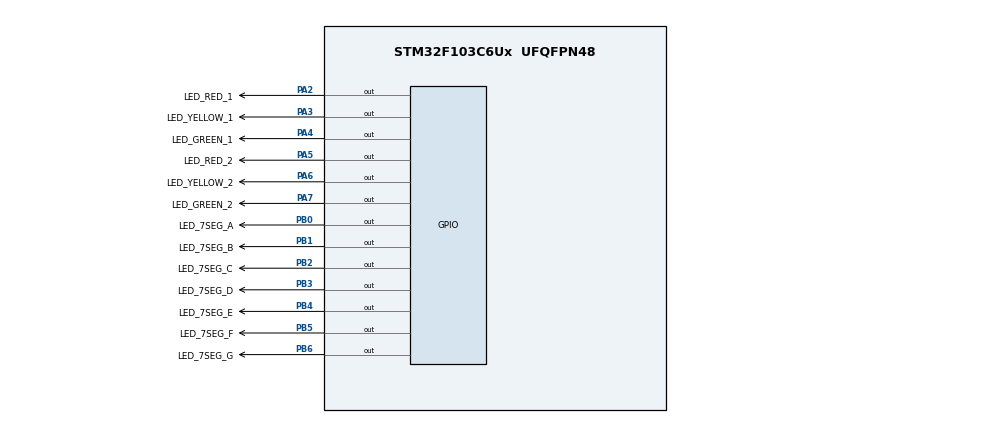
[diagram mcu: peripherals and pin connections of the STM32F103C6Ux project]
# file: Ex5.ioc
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Mcu.Family=STM32F1
Mcu.Name=STM32F103C6Ux
Mcu.Package=UFQFPN48
NVIC.PriorityGroup=NVIC_PRIORITYGROUP_4
PA2.GPIO_Label=LED_RED_1
PA2.Signal=GPIO_Output
PA3.GPIO_Label=LED_YELLOW_1
PA3.Signal=GPIO_Output
PA4.GPIO_Label=LED_GREEN_1
PA4.Signal=GPIO_Output
PA5.GPIO_Label=LED_RED_2
PA5.Signal=GPIO_Output
PA6.GPIO_Label=LED_YELLOW_2
PA6.Signal=GPIO_Output
PA7.GPIO_Label=LED_GREEN_2
PA7.Signal=GPIO_Output
PB0.GPIO_Label=LED_7SEG_A
PB0.Signal=GPIO_Output
PB1.GPIO_Label=LED_7SEG_B
PB1.Signal=GPIO_Output
PB2.GPIO_Label=LED_7SEG_C
PB2.Signal=GPIO_Output
PB3.GPIO_Label=LED_7SEG_D
PB3.Signal=GPIO_Output
PB4.GPIO_Label=LED_7SEG_E
PB4.Signal=GPIO_Output
PB5.GPIO_Label=LED_7SEG_F
PB5.Signal=GPIO_Output
PB6.GPIO_Label=LED_7SEG_G
PB6.Signal=GPIO_Output
ProjectManager.HeapSize=0x200
ProjectManager.StackSize=0x400
ProjectManager.TargetToolchain=STM32CubeIDE
RCC.APB1Freq_Value=8000000
RCC.APB2Freq_Value=8000000
VP_SYS_VS_ND.Mode=No_Debug
board=custom

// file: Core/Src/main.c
/* USER CODE BEGIN Header */
/**
  ******************************************************************************
  * @file           : main.c
  * @brief          : Main program body
  ******************************************************************************
  * @attention
  *
  * <h2><center>&copy; Copyright (c) 2022 STMicroelectronics.
  * All rights reserved.</center></h2>
  *
  * This software component is licensed by ST under BSD 3-Clause license,
  * the "License"; You may not use this file except in compliance with the
  * License. You may obtain a copy of the License at:
  *                        opensource.org/licenses/BSD-3-Clause
  *
  ******************************************************************************
  */
/* USER CODE END Header */
#include "main.h"

void SystemClock_Config(void);
static void MX_GPIO_Init(void);

/* USER CODE BEGIN 0 */
void display7SEG(int num){
	switch(num){
	case 0:
		HAL_GPIO_WritePin(LED_7SEG_A_GPIO_Port, LED_7SEG_A_Pin, 0);
		HAL_GPIO_WritePin(LED_7SEG_B_GPIO_Port, LED_7SEG_B_Pin, 0);
		HAL_GPIO_WritePin(LED_7SEG_C_GPIO_Port, LED_7SEG_C_Pin, 0);
		HAL_GPIO_WritePin(LED_7SEG_D_GPIO_Port, LED_7SEG_D_Pin, 0);
		HAL_GPIO_WritePin(LED_7SEG_E_GPIO_Port, LED_7SEG_E_Pin, 0);
		HAL_GPIO_WritePin(LED_7SEG_F_GPIO_Port, LED_7SEG_F_Pin, 0);
		HAL_GPIO_WritePin(LED_7SEG_G_GPIO_Port, LED_7SEG_G_Pin, 1);
		break;
	case 1:
		HAL_GPIO_WritePin(LED_7SEG_A_GPIO_Port, LED_7SEG_A_Pin, 1);
		HAL_GPIO_WritePin(LED_7SEG_B_GPIO_Port, LED_7SEG_B_Pin, 0);
		HAL_GPIO_WritePin(LED_7SEG_C_GPIO_Port, LED_7SEG_C_Pin, 0);
		HAL_GPIO_WritePin(LED_7SEG_D_GPIO_Port, LED_7SEG_D_Pin, 1);
		HAL_GPIO_WritePin(LED_7SEG_E_GPIO_Port, LED_7SEG_E_Pin, 1);
		HAL_GPIO_WritePin(LED_7SEG_F_GPIO_Port, LED_7SEG_F_Pin, 1);
		HAL_GPIO_WritePin(LED_7SEG_G_GPIO_Port, LED_7SEG_G_Pin, 1);
		break;
	case 2:
		HAL_GPIO_WritePin(LED_7SEG_A_GPIO_Port, LED_7SEG_A_Pin, 0);
		HAL_GPIO_WritePin(LED_7SEG_B_GPIO_Port, LED_7SEG_B_Pin, 0);
		HAL_GPIO_WritePin(LED_7SEG_C_GPIO_Port, LED_7SEG_C_Pin, 1);
		HAL_GPIO_WritePin(LED_7SEG_D_GPIO_Port, LED_7SEG_D_Pin, 0);
		HAL_GPIO_WritePin(LED_7SEG_E_GPIO_Port, LED_7SEG_E_Pin, 0);
		HAL_GPIO_WritePin(LED_7SEG_F_GPIO_Port, LED_7SEG_F_Pin, 1);
		HAL_GPIO_WritePin(LED_7SEG_G_GPIO_Port, LED_7SEG_G_Pin, 0);
		break;
	case 3:
		HAL_GPIO_WritePin(LED_7SEG_A_GPIO_Port, LED_7SEG_A_Pin, 0);
		HAL_GPIO_WritePin(LED_7SEG_B_GPIO_Port, LED_7SEG_B_Pin, 0);
		HAL_GPIO_WritePin(LED_7SEG_C_GPIO_Port, LED_7SEG_C_Pin, 0);
		HAL_GPIO_WritePin(LED_7SEG_D_GPIO_Port, LED_7SEG_D_Pin, 0);
		HAL_GPIO_WritePin(LED_7SEG_E_GPIO_Port, LED_7SEG_E_Pin, 1);
		HAL_GPIO_WritePin(LED_7SEG_F_GPIO_Port, LED_7SEG_F_Pin, 1);
		HAL_GPIO_WritePin(LED_7SEG_G_GPIO_Port, LED_7SEG_G_Pin, 0);
		break;
	case 4:
		HAL_GPIO_WritePin(LED_7SEG_A_GPIO_Port, LED_7SEG_A_Pin, 1);
		HAL_GPIO_WritePin(LED_7SEG_B_GPIO_Port, LED_7SEG_B_Pin, 0);
		HAL_GPIO_WritePin(LED_7SEG_C_GPIO_Port, LED_7SEG_C_Pin, 0);
		HAL_GPIO_WritePin(LED_7SEG_D_GPIO_Port, LED_7SEG_D_Pin, 1);
		HAL_GPIO_WritePin(LED_7SEG_E_GPIO_Port, LED_7SEG_E_Pin, 1);
		HAL_GPIO_WritePin(LED_7SEG_F_GPIO_Port, LED_7SEG_F_Pin, 0);
		HAL_GPIO_WritePin(LED_7SEG_G_GPIO_Port, LED_7SEG_G_Pin, 0);
		break;
	case 5:
		HAL_GPIO_WritePin(LED_7SEG_A_GPIO_Port, LED_7SEG_A_Pin, 0);
		HAL_GPIO_WritePin(LED_7SEG_B_GPIO_Port, LED_7SEG_B_Pin, 1);
		HAL_GPIO_WritePin(LED_7SEG_C_GPIO_Port, LED_7SEG_C_Pin, 0);
		HAL_GPIO_WritePin(LED_7SEG_D_GPIO_Port, LED_7SEG_D_Pin, 0);
		HAL_GPIO_WritePin(LED_7SEG_E_GPIO_Port, LED_7SEG_E_Pin, 1);
		HAL_GPIO_WritePin(LED_7SEG_F_GPIO_Port, LED_7SEG_F_Pin, 0);
		HAL_GPIO_WritePin(LED_7SEG_G_GPIO_Port, LED_7SEG_G_Pin, 0);
		break;
	case 6:
		HAL_GPIO_WritePin(LED_7SEG_A_GPIO_Port, LED_7SEG_A_Pin, 0);
		HAL_GPIO_WritePin(LED_7SEG_B_GPIO_Port, LED_7SEG_B_Pin, 1);
		HAL_GPIO_WritePin(LED_7SEG_C_GPIO_Port, LED_7SEG_C_Pin, 0);
		HAL_GPIO_WritePin(LED_7SEG_D_GPIO_Port, LED_7SEG_D_Pin, 0);
		HAL_GPIO_WritePin(LED_7SEG_E_GPIO_Port, LED_7SEG_E_Pin, 0);
		HAL_GPIO_WritePin(LED_7SEG_F_GPIO_Port, LED_7SEG_F_Pin, 0);
		HAL_GPIO_WritePin(LED_7SEG_G_GPIO_Port, LED_7SEG_G_Pin, 0);
		break;
	case 7:
		HAL_GPIO_WritePin(LED_7SEG_A_GPIO_Port, LED_7SEG_A_Pin, 0);
		HAL_GPIO_WritePin(LED_7SEG_B_GPIO_Port, LED_7SEG_B_Pin, 0);
		HAL_GPIO_WritePin(LED_7SEG_C_GPIO_Port, LED_7SEG_C_Pin, 0);
		HAL_GPIO_WritePin(LED_7SEG_D_GPIO_Port, LED_7SEG_D_Pin, 1);
		HAL_GPIO_WritePin(LED_7SEG_E_GPIO_Port, LED_7SEG_E_Pin, 1);
		HAL_GPIO_WritePin(LED_7SEG_F_GPIO_Port, LED_7SEG_F_Pin, 1);
		HAL_GPIO_WritePin(LED_7SEG_G_GPIO_Port, LED_7SEG_G_Pin, 1);
		break;
	case 8:
		HAL_GPIO_WritePin(LED_7SEG_A_GPIO_Port, LED_7SEG_A_Pin, 0);
		HAL_GPIO_WritePin(LED_7SEG_B_GPIO_Port, LED_7SEG_B_Pin, 0);
		HAL_GPIO_WritePin(LED_7SEG_C_GPIO_Port, LED_7SEG_C_Pin, 0);
		HAL_GPIO_WritePin(LED_7SEG_D_GPIO_Port, LED_7SEG_D_Pin, 0);
		HAL_GPIO_WritePin(LED_7SEG_E_GPIO_Port, LED_7SEG_E_Pin, 0);
		HAL_GPIO_WritePin(LED_7SEG_F_GPIO_Port, LED_7SEG_F_Pin, 0);
		HAL_GPIO_WritePin(LED_7SEG_G_GPIO_Port, LED_7SEG_G_Pin, 0);
		break;
	case 9:
		HAL_GPIO_WritePin(LED_7SEG_A_GPIO_Port, LED_7SEG_A_Pin, 0);
		HAL_GPIO_WritePin(LED_7SEG_B_GPIO_Port, LED_7SEG_B_Pin, 0);
		HAL_GPIO_WritePin(LED_7SEG_C_GPIO_Port, LED_7SEG_C_Pin, 0);
		HAL_GPIO_WritePin(LED_7SEG_D_GPIO_Port, LED_7SEG_D_Pin, 0);
		HAL_GPIO_WritePin(LED_7SEG_E_GPIO_Port, LED_7SEG_E_Pin, 1);
		HAL_GPIO_WritePin(LED_7SEG_F_GPIO_Port, LED_7SEG_F_Pin, 0);
		HAL_GPIO_WritePin(LED_7SEG_G_GPIO_Port, LED_7SEG_G_Pin, 0);
		break;
	default:
		HAL_GPIO_WritePin(LED_7SEG_A_GPIO_Port, LED_7SEG_A_Pin, 1);
		HAL_GPIO_WritePin(LED_7SEG_B_GPIO_Port, LED_7SEG_B_Pin, 1);
		HAL_GPIO_WritePin(LED_7SEG_C_GPIO_Port, LED_7SEG_C_Pin, 1);
		HAL_GPIO_WritePin(LED_7SEG_D_GPIO_Port, LED_7SEG_D_Pin, 1);
		HAL_GPIO_WritePin(LED_7SEG_E_GPIO_Port, LED_7SEG_E_Pin, 1);
		HAL_GPIO_WritePin(LED_7SEG_F_GPIO_Port, LED_7SEG_F_Pin, 1);
		HAL_GPIO_WritePin(LED_7SEG_G_GPIO_Port, LED_7SEG_G_Pin, 1);
		break;
	}
}
/* USER CODE END 0 */

int main(void)
{

  /* MCU Configuration--------------------------------------------------------*/

  /* Reset of all peripherals, Initializes the Flash interface and the Systick. */
  HAL_Init();

  /* Configure the system clock */
  SystemClock_Config();

  /* Initialize all configured peripherals */
  MX_GPIO_Init();

  /* Infinite loop */
  /* USER CODE BEGIN WHILE */
  int count =9;
  while (1)
  {
	  display7SEG(count);

	  switch (count) {
		case 9:
			HAL_GPIO_WritePin(LED_RED_1_GPIO_Port, LED_RED_1_Pin, GPIO_PIN_RESET);
			HAL_GPIO_WritePin(LED_YELLOW_1_GPIO_Port, LED_YELLOW_1_Pin, GPIO_PIN_SET);
			HAL_GPIO_WritePin(LED_GREEN_1_GPIO_Port, LED_GREEN_1_Pin, GPIO_PIN_SET);
			break;
		case 4:
			HAL_GPIO_TogglePin(LED_RED_1_GPIO_Port, LED_RED_1_Pin);
			HAL_GPIO_TogglePin(LED_GREEN_1_GPIO_Port, LED_GREEN_1_Pin);
			break;
		case 1:
			HAL_GPIO_TogglePin(LED_GREEN_1_GPIO_Port, LED_GREEN_1_Pin);
			HAL_GPIO_TogglePin(LED_YELLOW_1_GPIO_Port, LED_YELLOW_1_Pin);
			break;
		default:
			break;
	  }

	  switch (count) {
		case 9:
			HAL_GPIO_WritePin(LED_RED_2_GPIO_Port, LED_RED_2_Pin, GPIO_PIN_SET);
			HAL_GPIO_WritePin(LED_YELLOW_2_GPIO_Port, LED_YELLOW_2_Pin, GPIO_PIN_SET);
			HAL_GPIO_WritePin(LED_GREEN_2_GPIO_Port, LED_GREEN_2_Pin, GPIO_PIN_RESET);
			count--;
			break;
		case 6:
			HAL_GPIO_TogglePin(LED_GREEN_2_GPIO_Port, LED_GREEN_2_Pin);
			HAL_GPIO_TogglePin(LED_YELLOW_2_GPIO_Port, LED_YELLOW_2_Pin);
			count--;
			break;
		case 4:
			HAL_GPIO_TogglePin(LED_YELLOW_2_GPIO_Port, LED_YELLOW_2_Pin);
			HAL_GPIO_TogglePin(LED_RED_2_GPIO_Port, LED_RED_2_Pin);
			count--;
			break;
		case 0:
			count =9;
			break;
		default:
			count--;
			break;
	}
	HAL_Delay(1000);
    /* USER CODE END WHILE */

  }
}

void SystemClock_Config(void)
{
  RCC_OscInitTypeDef RCC_OscInitStruct = {0};
  RCC_ClkInitTypeDef RCC_ClkInitStruct = {0};

  /** Initializes the RCC Oscillators according to the specified parameters
  * in the RCC_OscInitTypeDef structure.
  */
  RCC_OscInitStruct.OscillatorType = RCC_OSCILLATORTYPE_HSI;
  RCC_OscInitStruct.HSIState = RCC_HSI_ON;
  RCC_OscInitStruct.HSICalibrationValue = RCC_HSICALIBRATION_DEFAULT;
  RCC_OscInitStruct.PLL.PLLState = RCC_PLL_NONE;
  if (HAL_RCC_OscConfig(&RCC_OscInitStruct) != HAL_OK)
  {
    Error_Handler();
  }
  /** Initializes the CPU, AHB and APB buses clocks
  */
  RCC_ClkInitStruct.ClockType = RCC_CLOCKTYPE_HCLK|RCC_CLOCKTYPE_SYSCLK
                              |RCC_CLOCKTYPE_PCLK1|RCC_CLOCKTYPE_PCLK2;
  RCC_ClkInitStruct.SYSCLKSource = RCC_SYSCLKSOURCE_HSI;
  RCC_ClkInitStruct.AHBCLKDivider = RCC_SYSCLK_DIV1;
  RCC_ClkInitStruct.APB1CLKDivider = RCC_HCLK_DIV1;
  RCC_ClkInitStruct.APB2CLKDivider = RCC_HCLK_DIV1;

  if (HAL_RCC_ClockConfig(&RCC_ClkInitStruct, FLASH_LATENCY_0) != HAL_OK)
  {
    Error_Handler();
  }
}

static void MX_GPIO_Init(void)
{
  GPIO_InitTypeDef GPIO_InitStruct = {0};

  /* GPIO Ports Clock Enable */
  __HAL_RCC_GPIOA_CLK_ENABLE();
  __HAL_RCC_GPIOB_CLK_ENABLE();

  /*Configure GPIO pin Output Level */
  HAL_GPIO_WritePin(GPIOA, LED_RED_1_Pin|LED_YELLOW_1_Pin|LED_GREEN_1_Pin|LED_RED_2_Pin
                          |LED_YELLOW_2_Pin|LED_GREEN_2_Pin, GPIO_PIN_RESET);

  /*Configure GPIO pin Output Level */
  HAL_GPIO_WritePin(GPIOB, LED_7SEG_A_Pin|LED_7SEG_B_Pin|LED_7SEG_C_Pin|LED_7SEG_D_Pin
                          |LED_7SEG_E_Pin|LED_7SEG_F_Pin|LED_7SEG_G_Pin, GPIO_PIN_RESET);

  /*Configure GPIO pins : LED_RED_1_Pin LED_YELLOW_1_Pin LED_GREEN_1_Pin LED_RED_2_Pin
                           LED_YELLOW_2_Pin LED_GREEN_2_Pin */
  GPIO_InitStruct.Pin = LED_RED_1_Pin|LED_YELLOW_1_Pin|LED_GREEN_1_Pin|LED_RED_2_Pin
                          |LED_YELLOW_2_Pin|LED_GREEN_2_Pin;
  GPIO_InitStruct.Mode = GPIO_MODE_OUTPUT_PP;
  GPIO_InitStruct.Pull = GPIO_NOPULL;
  GPIO_InitStruct.Speed = GPIO_SPEED_FREQ_LOW;
  HAL_GPIO_Init(GPIOA, &GPIO_InitStruct);

  /*Configure GPIO pins : LED_7SEG_A_Pin LED_7SEG_B_Pin LED_7SEG_C_Pin LED_7SEG_D_Pin
                           LED_7SEG_E_Pin LED_7SEG_F_Pin LED_7SEG_G_Pin */
  GPIO_InitStruct.Pin = LED_7SEG_A_Pin|LED_7SEG_B_Pin|LED_7SEG_C_Pin|LED_7SEG_D_Pin
                          |LED_7SEG_E_Pin|LED_7SEG_F_Pin|LED_7SEG_G_Pin;
  GPIO_InitStruct.Mode = GPIO_MODE_OUTPUT_PP;
  GPIO_InitStruct.Pull = GPIO_NOPULL;
  GPIO_InitStruct.Speed = GPIO_SPEED_FREQ_LOW;
  HAL_GPIO_Init(GPIOB, &GPIO_InitStruct);

}

void Error_Handler(void)
{
  __disable_irq();
  while (1)
  {
  }
}

/************************ (C) COPYRIGHT STMicroelectronics *****END OF FILE****/
